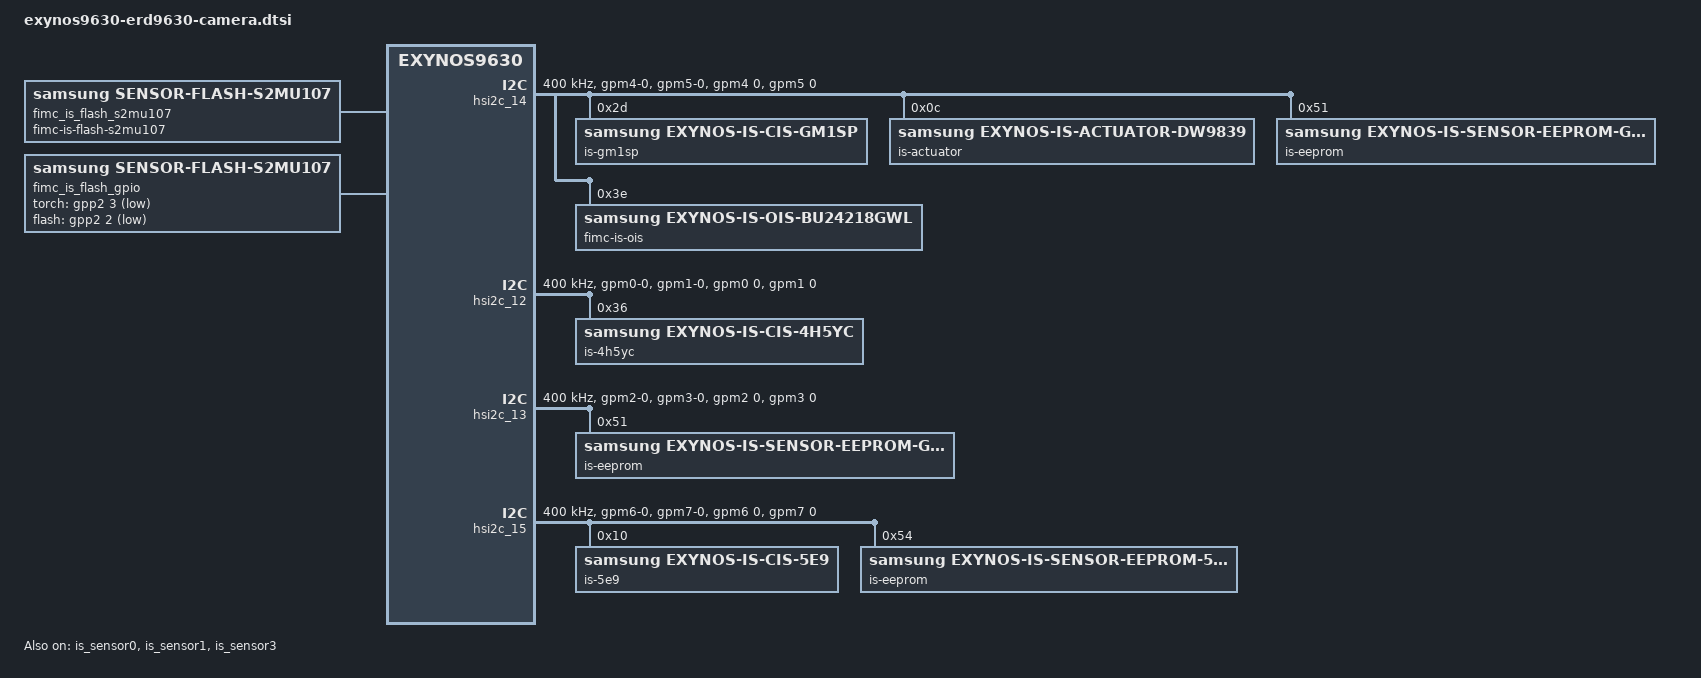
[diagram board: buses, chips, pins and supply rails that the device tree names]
/*
 * Samsung Exynos SoC series Pablo driver
 *
 * Copyright (c) 2019 Samsung Electronics Co., Ltd
 *
 * This program is free software; you can redistribute it and/or modify
 * it under the terms of the GNU General Public License version 2 as
 * published by the Free Software Foundation.
 */

#include <dt-bindings/camera/exynos_is_dt.h>
#include <dt-bindings/interrupt-controller/exynos9630.h>
#include <dt-bindings/clock/exynos9630.h>

#include "camera/module_gm1sp.dtsi"
#include "camera/module_5e9.dtsi"
#include "camera/module_4h5yc.dtsi"

/ {
	fragment@camera {
		target-path = "/";
		__overlay__ {
			fimc_is_flash_s2mu107: fimc-is-flash-s2mu107@17 {
				compatible = "samsung,sensor-flash-s2mu107";
				id = <0>;
				status = "okay";
			};

			/* REAR CAMERA */
			is_sensor_gm1sp: is_sensor_gm1sp@43 {
				pinctrl-names = "pin0", "pin1", "pin2", "release";
				pinctrl-0 = <>;
				pinctrl-1 = <&sensor_mclk1_out>;
				pinctrl-2 = <&sensor_mclk1_fn>;
				pinctrl-3 = <>;

				position = <0>; /* Rear:0. Front:1 */
				id = <0>; /* sensor node id */
				mclk_ch = <1>;
				sensor_i2c_ch = <1>; /* I2C 0 */

				status = "okay";

				af {
					product_name = <23>; /* ACTUATOR_NAME_DW9839 */
					i2c_ch = <1>; /* SENSOR_CONTROL_I2C0 */
				};

				flash {
					product_name = <17>; /* FLASH_S2MU107 */
				};

				ois {
					product_name = <3>; /* OIS_NAME_ROHM_BU24218GWL */
					i2c_ch = <1>; /* SENSOR_CONTROL_I2C1 */
				};

				eeprom {
					product_name = <1>; /* EEPROM_GM1SP */
					i2c_ch = <1>; /* SENSOR_CONTROL_I2C0 */
				};

				power_seq {
					gpio_mclk = <&gpg0 4 0x1>;

					scenario_normal_on {
						/* A start node number should be over the 10 for reserved number 0~9. */
						/* pname = "name"; pin = <act value dealy voltage>; gpio = <gpx# # 0x1>; */
						10 { pname = "MCLK"; pin = <PIN_MCLK 1 0>; };
						20 { pname = "sen_rst low"; pin = <PIN_OUTPUT 0 0>; gpio = <&gpm13 0 0x1>; };
						30 { pname = "S2MPB03_VLDO6"; pin = <PIN_REGULATOR 1 0>; };
						40 { pname = "S2MPB03_VLDO1"; pin = <PIN_REGULATOR 1 0>; };
						50 { pname = "S2MPB03_VLDO3"; pin = <PIN_REGULATOR 1 0>; share = <SRT_ACQUIRE SHARED_PIN0 1>; };
						60 { pname = "S2MPB03_VLDO7"; pin = <PIN_REGULATOR 1 1000>; };
						70 { pname = "none"; pin = <PIN_NONE 0 0>; };
						80 { pname = "on_i2c"; pin = <PIN_I2C 1 0>; };
						90 { pname = "pin"; pin = <PIN_FUNCTION 2 0>; };
						100 { pname = "sen_rst high"; pin = <PIN_OUTPUT 1 2000>; gpio = <&gpm13 0 0x1>; };
					};

					scenario_normal_off {
						/* A start node number should be over the 10 for reserved number 0~9. */
						/* pname = "name"; pin = <act value dealy voltage>; gpio = <gpx# # 0x1>; */
						10 { pname = "sen_rst"; pin = <PIN_RESET 0 10>; gpio = <&gpm13 0 0x1>; };
						20 { pname = "sen_rst input"; pin = <PIN_INPUT 0 0>; gpio = <&gpm13 0 0x1>; };
						30 { pname = "S2MPB03_VLDO7"; pin = <PIN_REGULATOR 0 0>; };
						40 { pname = "S2MPB03_VLDO3"; pin = <PIN_REGULATOR 0 0>; share = <SRT_RELEASE SHARED_PIN0 0>; };
						50 { pname = "S2MPB03_VLDO1"; pin = <PIN_REGULATOR 0 0>; };
						60 { pname = "S2MPB03_VLDO6"; pin = <PIN_REGULATOR 0 0>; };
						70 { pname = "none"; pin = <PIN_NONE 0 0>; };
						80 { pname = "off_i2c"; pin = <PIN_I2C 0 0>; };
						90 { pname = "pin"; pin = <PIN_FUNCTION 0 0>; };
						100 { pname = "pin"; pin = <PIN_FUNCTION 1 0>; };
						110 { pname = "pin"; pin = <PIN_FUNCTION 0 0>; };
						120 { pname = "MCLK"; pin = <PIN_MCLK 0 0>; };
					};

					scenario_g_active_camera_on {
						sensor_scenario = <SENSOR_SCENARIO_G_ACTIVE_CAMERA>;
						gpio_scenario = <GPIO_SCENARIO_ON>;

						/* A start node number should be over the 10 for reserved number 0~9. */
						/* pname = "name"; pin = <act value dealy voltage>; gpio = <gpx# # 0x1>; */
						10 { pname = "MCLK"; pin = <PIN_MCLK 1 0>; };
						20 { pname = "sen_rst low"; pin = <PIN_OUTPUT 0 0>; gpio = <&gpm13 0 0x1>; };
						30 { pname = "S2MPB03_VLDO6"; pin = <PIN_REGULATOR 1 0>; };
						40 { pname = "S2MPB03_VLDO1"; pin = <PIN_REGULATOR 1 0>; };
						50 { pname = "S2MPB03_VLDO3"; pin = <PIN_REGULATOR 1 0>; share = <SRT_ACQUIRE SHARED_PIN0 1>; };
						60 { pname = "S2MPB03_VLDO7"; pin = <PIN_REGULATOR 1 1000>; };
						70 { pname = "none"; pin = <PIN_NONE 0 0>; };
						80 { pname = "on_i2c"; pin = <PIN_I2C 1 0>; };
						90 { pname = "pin"; pin = <PIN_FUNCTION 2 0>; };
						100 { pname = "sen_rst high"; pin = <PIN_OUTPUT 1 2000>; gpio = <&gpm13 0 0x1>; };
					};

					scenario_g_active_camera_off {
						sensor_scenario = <SENSOR_SCENARIO_G_ACTIVE_CAMERA>;
						gpio_scenario = <GPIO_SCENARIO_OFF>;

						/* A start node number should be over the 10 for reserved number 0~9. */
						/* pname = "name"; pin = <act value dealy voltage>; gpio = <gpx# # 0x1>; */
						10 { pname = "sen_rst"; pin = <PIN_RESET 0 10>; gpio = <&gpm13 0 0x1>; };
						20 { pname = "sen_rst input"; pin = <PIN_INPUT 0 0>; gpio = <&gpm13 0 0x1>; };
						30 { pname = "S2MPB03_VLDO7"; pin = <PIN_REGULATOR 0 0>; };
						40 { pname = "S2MPB03_VLDO3"; pin = <PIN_REGULATOR 0 0>; share = <SRT_RELEASE SHARED_PIN0 0>; };
						50 { pname = "S2MPB03_VLDO1"; pin = <PIN_REGULATOR 0 0>; };
						60 { pname = "S2MPB03_VLDO6"; pin = <PIN_REGULATOR 0 0>; };
						70 { pname = "none"; pin = <PIN_NONE 0 0>; };
						80 { pname = "off_i2c"; pin = <PIN_I2C 0 0>; };
						90 { pname = "pin"; pin = <PIN_FUNCTION 0 0>; };
						100 { pname = "pin"; pin = <PIN_FUNCTION 1 0>; };
						110 { pname = "pin"; pin = <PIN_FUNCTION 0 0>; };
						120 { pname = "MCLK"; pin = <PIN_MCLK 0 0>; };
					};

				};
			};

			/* FRONT CAMERA */
			is_sensor_4h5yc: is_sensor_4h5yc@24 {
				pinctrl-names = "pin0", "pin1", "pin2", "release";
				pinctrl-0 = <>;
				pinctrl-1 = <&sensor_mclk0_out>;
				pinctrl-2 = <&sensor_mclk0_fn>;
				pinctrl-3 = <>;

				position = <1>; /* Rear:0. Front:1 */
				id = <1>; /* sensor node id */
				mclk_ch = <0>;
				sensor_i2c_ch = <0>;

				status = "okay";

				power_seq {
					gpio_mclk = <&gpg0 3 0x1>;

					scenario_normal_on {
						/* A start node number should be over the 10 for reserved number 0~9. */
						/* pname = "name"; pin = <act value dealy voltage>; gpio = <gpx# # 0x1>; */
						10 { pname = "sen_rst low"; pin = <PIN_OUTPUT 0 0>; gpio = <&gpm12 0 0x1>; };
						20 { pname = "S2MPU10_VLDO24M"; pin = <PIN_REGULATOR 1 0>; };
						30 { pname = "S2MPB03_VLDO3"; pin = <PIN_REGULATOR 1 0>; share = <SRT_ACQUIRE SHARED_PIN0 1>; };
						40 { pname = "S2MPB03_VLDO2"; pin = <PIN_REGULATOR 1 1000>; };
						50 { pname = "on_i2c"; pin = <PIN_I2C 1 0>; };
						60 { pname = "pin"; pin = <PIN_FUNCTION 2 0>; };
						70 { pname = "MCLK"; pin = <PIN_MCLK 1 0>; };
						80 { pname = "sen_rst high"; pin = <PIN_OUTPUT 1 2500>; gpio = <&gpm12 0 0x1>; };
						/* need eeprom pin control */
					};

					scenario_normal_off {
						/* A start node number should be over the 10 for reserved number 0~9. */
						/* pname = "name"; pin = <act value dealy voltage>; gpio = <gpx# # 0x1>; */
						10 { pname = "S2MPU10_VLDO24M"; pin = <PIN_REGULATOR 0 0>; };
						20 { pname = "S2MPB03_VLDO2"; pin = <PIN_REGULATOR 0 0>; };
						30 { pname = "MCLK"; pin = <PIN_MCLK 0 0>; };
						40 { pname = "pin"; pin = <PIN_FUNCTION 0 0>; };
						50 { pname = "pin"; pin = <PIN_FUNCTION 1 0>; };
						60 { pname = "pin"; pin = <PIN_FUNCTION 0 0>; };
						70 { pname = "sen_rst"; pin = <PIN_OUTPUT 0 0>; gpio = <&gpm12 0 0x1>; };
						80 { pname = "off_i2c"; pin = <PIN_I2C 0 0>; };
						90 { pname = "S2MPB03_VLDO3"; pin = <PIN_REGULATOR 0 0>; share = <SRT_RELEASE SHARED_PIN0 0>; };
						/* need eeprom pin control */
					};

					scenario_g_active_camera_on {
						sensor_scenario = <SENSOR_SCENARIO_G_ACTIVE_CAMERA>;
						gpio_scenario = <GPIO_SCENARIO_ON>;
						/* A start node number should be over the 10 for reserved number 0~9. */
						/* pname = "name"; pin = <act value dealy voltage>; gpio = <gpx# # 0x1>; */
						10 { pname = "sen_rst low"; pin = <PIN_OUTPUT 0 0>; gpio = <&gpm12 0 0x1>; };
						20 { pname = "S2MPU10_VLDO24M"; pin = <PIN_REGULATOR 1 0>; };
						30 { pname = "S2MPB03_VLDO3"; pin = <PIN_REGULATOR 1 0>; share = <SRT_ACQUIRE SHARED_PIN0 1>; };
						40 { pname = "S2MPB03_VLDO2"; pin = <PIN_REGULATOR 1 1000>; };
						50 { pname = "on_i2c"; pin = <PIN_I2C 1 0>; };
						60 { pname = "pin"; pin = <PIN_FUNCTION 2 0>; };
						70 { pname = "MCLK"; pin = <PIN_MCLK 1 0>; };
						80 { pname = "sen_rst high"; pin = <PIN_OUTPUT 1 2500>; gpio = <&gpm12 0 0x1>; };
						/* need eeprom pin control */
					};

					scenario_g_active_camera_off {
						sensor_scenario = <SENSOR_SCENARIO_G_ACTIVE_CAMERA>;
						gpio_scenario = <GPIO_SCENARIO_OFF>;
						/* A start node number should be over the 10 for reserved number 0~9. */
						/* pname = "name"; pin = <act value dealy voltage>; gpio = <gpx# # 0x1>; */
						10 { pname = "S2MPU10_VLDO24M"; pin = <PIN_REGULATOR 0 0>; };
						20 { pname = "S2MPB03_VLDO2"; pin = <PIN_REGULATOR 0 0>; };
						30 { pname = "MCLK"; pin = <PIN_MCLK 0 0>; };
						40 { pname = "pin"; pin = <PIN_FUNCTION 0 0>; };
						50 { pname = "pin"; pin = <PIN_FUNCTION 1 0>; };
						60 { pname = "pin"; pin = <PIN_FUNCTION 0 0>; };
						70 { pname = "sen_rst"; pin = <PIN_OUTPUT 0 0>; gpio = <&gpm12 0 0x1>; };
						80 { pname = "off_i2c"; pin = <PIN_I2C 0 0>; };
						90 { pname = "S2MPB03_VLDO3"; pin = <PIN_REGULATOR 0 0>; share = <SRT_RELEASE SHARED_PIN0 0>; };
						/* need eeprom pin control */
					};

				};

			};

			/* Rear Sub CAMERA */
			is_sensor_5e9: is_sensor_5e9@41 {
				pinctrl-names = "pin0", "pin1", "pin2", "release";
				pinctrl-0 = <>;
				pinctrl-1 = <&sensor_mclk2_out>;
				pinctrl-2 = <&sensor_mclk2_fn>;
				pinctrl-3 = <>;

				/* board */
				position = <2>; /* Rear:0. Front:1, Tele:2 */
				id = <2>; /* fimc_is_sensor id */
				mclk_ch = <2>;
				sensor_i2c_ch = <2>; /* SENSOR_CONTROL_I2C5 */

				af {
					product_name = <100>; /* NOTHING */
				};

				flash {
					product_name = <100>; /* NOTHING */
				};

				preprocessor {
					product_name = <100>; /* NOTHING */
				};

				ois {
					product_name = <100>; /* NOTHING */
				};

				eeprom {
					product_name = <2>; /* EEPROM_5E9 */
					i2c_ch = <2>; /* SENSOR_CONTROL_I2C2 */
				};

				power_seq {
					use = <1>;
					gpio_mclk = <&gpg0 5 0x1>;

					scenario_normal_on {
						sensor_scenario = <SENSOR_SCENARIO_NORMAL>;
						gpio_scenario = <GPIO_SCENARIO_ON>;

						/* A start node number should be over the 10 for reserved number 0~9. */
						/* pname = "name"; pin = <act value dealy voltage>; gpio = <gpx# # 0x1>; */
						10 { pname = "MCLK"; pin = <PIN_MCLK 1 0>; };
						20 { pname = "sen_rst low"; pin = <PIN_OUTPUT 0 0>; gpio = <&gpm14 0 0x1>; };
						30 { pname = "S2MPB03_VLDO5"; pin = <PIN_REGULATOR 1 0>; };
						40 { pname = "S2MPB03_VLDO3"; pin = <PIN_REGULATOR 1 0>; share = <SRT_ACQUIRE SHARED_PIN0 1>; };
						50 { pname = "S2MPB03_VLDO4"; pin = <PIN_REGULATOR 1 1000>; };
						60 { pname = "pin"; pin = <PIN_FUNCTION 2 1000>; };
						70 { pname = "sen_rst high"; pin = <PIN_OUTPUT 1 1000>; gpio = <&gpm14 0 0x1>; };
						80 { pname = "on_i2c"; pin = <PIN_I2C 1 0>; };
					};

					scenario_normal_off {
						sensor_scenario = <SENSOR_SCENARIO_NORMAL>;
						gpio_scenario = <GPIO_SCENARIO_OFF>;

						/* A start node number should be over the 10 for reserved number 0~9. */
						/* pname = "name"; pin = <act value dealy voltage>; gpio = <gpx# # 0x1>; */
						10 { pname = "pin"; pin = <PIN_FUNCTION 0 0>; };
						20 { pname = "pin"; pin = <PIN_FUNCTION 1 0>; };
						30 { pname = "pin"; pin = <PIN_FUNCTION 0 0>; };
						40 { pname = "S2MPB03_VLDO5"; pin = <PIN_REGULATOR 0 0>; };
						50 { pname = "S2MPB03_VLDO4"; pin = <PIN_REGULATOR 0 0>; };
						60 { pname = "S2MPB03_VLDO3"; pin = <PIN_REGULATOR 0 0>; share = <SRT_RELEASE SHARED_PIN0 0>; };
						70 { pname = "sen_rst"; pin = <PIN_OUTPUT 0 0>; gpio = <&gpm14 0 0x1>; };
						80 { pname = "MCLK"; pin = <PIN_MCLK 0 0>; };
						90 { pname = "off_i2c"; pin = <PIN_I2C 0 0>; };
					};

					scenario_g_active_camera_on {
						sensor_scenario = <SENSOR_SCENARIO_G_ACTIVE_CAMERA>;
						gpio_scenario = <GPIO_SCENARIO_ON>;

						/* A start node number should be over the 10 for reserved number 0~9. */
						/* pname = "name"; pin = <act value dealy voltage>; gpio = <gpx# # 0x1>; */
						10 { pname = "MCLK"; pin = <PIN_MCLK 1 0>; };
						20 { pname = "sen_rst low"; pin = <PIN_OUTPUT 0 0>; gpio = <&gpm14 0 0x1>; };
						30 { pname = "S2MPB03_VLDO5"; pin = <PIN_REGULATOR 1 0>; };
						40 { pname = "S2MPB03_VLDO3"; pin = <PIN_REGULATOR 1 0>; share = <SRT_ACQUIRE SHARED_PIN0 1>; };
						50 { pname = "S2MPB03_VLDO4"; pin = <PIN_REGULATOR 1 1000>; };
						60 { pname = "pin"; pin = <PIN_FUNCTION 2 1000>; };
						70 { pname = "sen_rst high"; pin = <PIN_OUTPUT 1 1000>; gpio = <&gpm14 0 0x1>; };
						80 { pname = "on_i2c"; pin = <PIN_I2C 1 0>; };
					};

					scenario_g_active_camera_off {
						sensor_scenario = <SENSOR_SCENARIO_VISION>;
						gpio_scenario = <GPIO_SCENARIO_OFF>;

						/* A start node number should be over the 10 for reserved number 0~9. */
						/* pname = "name"; pin = <act value dealy voltage>; gpio = <gpx# # 0x1>; */
						10 { pname = "pin"; pin = <PIN_FUNCTION 0 0>; };
						20 { pname = "pin"; pin = <PIN_FUNCTION 1 0>; };
						30 { pname = "pin"; pin = <PIN_FUNCTION 0 0>; };
						40 { pname = "S2MPB03_VLDO5"; pin = <PIN_REGULATOR 0 0>; };
						50 { pname = "S2MPB03_VLDO4"; pin = <PIN_REGULATOR 0 0>; };
						60 { pname = "S2MPB03_VLDO3"; pin = <PIN_REGULATOR 0 0>; share = <SRT_RELEASE SHARED_PIN0 0>; };
						70 { pname = "sen_rst"; pin = <PIN_OUTPUT 0 0>; gpio = <&gpm14 0 0x1>; };
						80 { pname = "MCLK"; pin = <PIN_MCLK 0 0>; };
						90 { pname = "off_i2c"; pin = <PIN_I2C 0 0>; };
					};
				};

			};

			fimc_is_flash_gpio: fimc-is-flash-gpio@0 {
				compatible = "samsung,sensor-flash-s2mu107";
				id = <0>;
				status = "okay";

				torch-gpio = <&gpp2 3 0x1>;
				flash-gpio = <&gpp2 2 0x1>;
			};
		}; /* end of __overlay__ */
	}; /* end of fragment */
}; /* end of root */

/***** reference symbol node *****/

&exynos_is {
	vender {
		rear_sensor_id = <43>; /* GM1SP */
		front_sensor_id = <24>; /* 4H5YC */
		rear2_sensor_id = <41>; /* 5E9 */
	};

	lic_offsets {
		/* 3AA = <setA lic offset0, setA lic offset1, set A trigger context */
		/*		setB lic offset0, setB lic offset1, set B trigger context> */
		/* 4672: 4640x4352 */
		/* 5824: 5804x4352 */
		3AA = <4672 10496 1 4064 13344 2>;
	};

	is_dvfs {
		#define DVFS_INT_CAM_L0 533000
		#define DVFS_INT_CAM_L1 532000
		#define DVFS_INT_CAM_L2 444000
		#define DVFS_INT_CAM_L3 400000
		#define DVFS_INT_CAM_L4 333000
		#define DVFS_INT_CAM_L5 222000
		#define DVFS_INT_CAM_L6 167000
		#define DVFS_INT_CAM_L7 107000

		#define DVFS_TNR_L0 533000
		#define DVFS_TNR_L1 444000
		#define DVFS_TNR_L2 400000
		#define DVFS_TNR_L3 333000
		#define DVFS_TNR_L4 222000
		#define DVFS_TNR_L5 167000
		#define DVFS_TNR_L6 107000

		#define DVFS_INT_L0 666000
		#define DVFS_INT_L1 533000
		#define DVFS_INT_L2 400000
		#define DVFS_INT_L3 266000
		#define DVFS_INT_L4 200000
		#define DVFS_INT_L5 133000

		#define DVFS_CAM_L0 533000
		#define DVFS_CAM_L1 444000
		#define DVFS_CAM_L2 400000
		#define DVFS_CAM_L3 333000
		#define DVFS_CAM_L4 267000
		#define DVFS_CAM_L5 222000
		#define DVFS_CAM_L6 100000

		#define DVFS_MIF_L0 2093000
		#define DVFS_MIF_L1 1794000
		#define DVFS_MIF_L2 1539000
		#define DVFS_MIF_L3 1352000
		#define DVFS_MIF_L4 1014000
		#define DVFS_MIF_L5 845000
		#define DVFS_MIF_L6 676000
		#define DVFS_MIF_L7 546000
		#define DVFS_MIF_L8 421000

		table0 {
			desc = "dvfs table v0.0 for 12M/8M/5M";

			default_int_cam = <DVFS_INT_CAM_L2>;
			default_tnr = <DVFS_TNR_L1>;
			default_cam = <DVFS_CAM_L0>;
			default_mif = <DVFS_MIF_L2>;
			default_int = <DVFS_INT_L4>;
			default_hpg = <0>;

			front2_preview_int_cam = <DVFS_INT_CAM_L2>;
			front2_preview_tnr = <DVFS_TNR_L1>;
			front2_preview_cam = <DVFS_CAM_L0>;
			front2_preview_mif = <DVFS_MIF_L2>;
			front2_preview_int = <DVFS_INT_L4>;
			front2_preview_hpg = <0>;

			front2_capture_int_cam = <DVFS_INT_CAM_L2>;
			front2_capture_tnr = <DVFS_TNR_L1>;
			front2_capture_cam = <DVFS_CAM_L0>;
			front2_capture_mif = <DVFS_MIF_L2>;
			front2_capture_int = <DVFS_INT_L4>;
			front2_capture_hpg = <0>;

			front2_video_int_cam = <DVFS_INT_CAM_L2>;
			front2_video_tnr = <DVFS_TNR_L1>;
			front2_video_cam = <DVFS_CAM_L0>;
			front2_video_mif = <DVFS_MIF_L2>;
			front2_video_int = <DVFS_INT_L4>;
			front2_video_hpg = <0>;

			front2_video_capture_int_cam = <DVFS_INT_CAM_L2>;
			front2_video_capture_tnr = <DVFS_TNR_L1>;
			front2_video_capture_cam = <DVFS_CAM_L0>;
			front2_video_capture_mif = <DVFS_MIF_L2>;
			front2_video_capture_int = <DVFS_INT_L4>;
			front2_video_capture_hpg = <0>;

			front_preview_int_cam = <DVFS_INT_CAM_L5>;
			front_preview_tnr = <DVFS_TNR_L4>;
			front_preview_cam = <DVFS_CAM_L4>;
			front_preview_mif = <DVFS_MIF_L4>;
			front_preview_int = <DVFS_INT_L4>;
			front_preview_hpg = <0>;

			front_preview_full_int_cam = <DVFS_INT_CAM_L5>;
			front_preview_full_tnr = <DVFS_TNR_L4>;
			front_preview_full_cam = <DVFS_CAM_L4>;
			front_preview_full_mif = <DVFS_MIF_L4>;
			front_preview_full_int = <DVFS_INT_L4>;
			front_preview_full_hpg = <0>;

			front_capture_int_cam = <DVFS_INT_CAM_L2>;
			front_capture_tnr = <DVFS_TNR_L1>;
			front_capture_cam = <DVFS_CAM_L4>;
			front_capture_mif = <DVFS_MIF_L1>;
			front_capture_int = <DVFS_INT_L4>;
			front_capture_hpg = <0>;

			front_video_int_cam = <DVFS_INT_CAM_L5>;
			front_video_tnr = <DVFS_TNR_L4>;
			front_video_cam = <DVFS_CAM_L4>;
			front_video_mif = <DVFS_MIF_L4>;
			front_video_int = <DVFS_INT_L4>;
			front_video_hpg = <0>;

			front_video_whd_int_cam = <DVFS_INT_CAM_L5>;
			front_video_whd_tnr = <DVFS_TNR_L4>;
			front_video_whd_cam = <DVFS_CAM_L4>;
			front_video_whd_mif = <DVFS_MIF_L4>;
			front_video_whd_int = <DVFS_INT_L4>;
			front_video_whd_hpg = <0>;

			front_video_uhd_int_cam = <DVFS_INT_CAM_L5>;
			front_video_uhd_tnr = <DVFS_TNR_L4>;
			front_video_uhd_cam = <DVFS_CAM_L4>;
			front_video_uhd_mif = <DVFS_MIF_L4>;
			front_video_uhd_int = <DVFS_INT_L4>;
			front_video_uhd_hpg = <0>;

			front_video_capture_int_cam = <DVFS_INT_CAM_L2>;
			front_video_capture_tnr = <DVFS_TNR_L1>;
			front_video_capture_cam = <DVFS_CAM_L4>;
			front_video_capture_mif = <DVFS_MIF_L1>;
			front_video_capture_int = <DVFS_INT_L4>;
			front_video_capture_hpg = <0>;

			front_video_whd_capture_int_cam = <DVFS_INT_CAM_L2>;
			front_video_whd_capture_tnr = <DVFS_TNR_L1>;
			front_video_whd_capture_cam = <DVFS_CAM_L4>;
			front_video_whd_capture_mif = <DVFS_MIF_L1>;
			front_video_whd_capture_int = <DVFS_INT_L4>;
			front_video_whd_capture_hpg = <0>;

			front_video_uhd_capture_int_cam = <DVFS_INT_CAM_L2>;
			front_video_uhd_capture_tnr = <DVFS_TNR_L1>;
			front_video_uhd_capture_cam = <DVFS_CAM_L4>;
			front_video_uhd_capture_mif = <DVFS_MIF_L1>;
			front_video_uhd_capture_int = <DVFS_INT_L4>;
			front_video_uhd_capture_hpg = <0>;

			front_dual_sync_preview_int_cam = <DVFS_INT_CAM_L2>;
			front_dual_sync_preview_tnr = <DVFS_TNR_L1>;
			front_dual_sync_preview_cam = <DVFS_CAM_L0>;
			front_dual_sync_preview_mif = <DVFS_MIF_L2>;
			front_dual_sync_preview_int = <DVFS_INT_L4>;
			front_dual_sync_preview_hpg = <0>;

			front_dual_sync_capture_int_cam = <DVFS_INT_CAM_L2>;
			front_dual_sync_capture_tnr = <DVFS_TNR_L1>;
			front_dual_sync_capture_cam = <DVFS_CAM_L0>;
			front_dual_sync_capture_mif = <DVFS_MIF_L2>;
			front_dual_sync_capture_int = <DVFS_INT_L4>;
			front_dual_sync_capture_hpg = <0>;

			front_dual_sync_video_fhd_int_cam = <DVFS_INT_CAM_L2>;
			front_dual_sync_video_fhd_tnr = <DVFS_TNR_L1>;
			front_dual_sync_video_fhd_cam = <DVFS_CAM_L0>;
			front_dual_sync_video_fhd_mif = <DVFS_MIF_L2>;
			front_dual_sync_video_fhd_int = <DVFS_INT_L4>;
			front_dual_sync_video_fhd_hpg = <0>;

			front_dual_sync_video_fhd_capture_int_cam = <DVFS_INT_CAM_L2>;
			front_dual_sync_video_fhd_capture_tnr = <DVFS_TNR_L1>;
			front_dual_sync_video_fhd_capture_cam = <DVFS_CAM_L0>;
			front_dual_sync_video_fhd_capture_mif = <DVFS_MIF_L2>;
			front_dual_sync_video_fhd_capture_int = <DVFS_INT_L4>;
			front_dual_sync_video_fhd_capture_hpg = <0>;

			front_vt1_int_cam = <DVFS_INT_CAM_L2>;
			front_vt1_tnr = <DVFS_TNR_L1>;
			front_vt1_cam = <DVFS_CAM_L0>;
			front_vt1_mif = <DVFS_MIF_L2>;
			front_vt1_int = <DVFS_INT_L4>;
			front_vt1_hpg = <0>;

			front_vt2_int_cam = <DVFS_INT_CAM_L2>;
			front_vt2_tnr = <DVFS_TNR_L1>;
			front_vt2_cam = <DVFS_CAM_L0>;
			front_vt2_mif = <DVFS_MIF_L2>;
			front_vt2_int = <DVFS_INT_L4>;
			front_vt2_hpg = <0>;

			front_vt4_int_cam = <DVFS_INT_CAM_L2>;
			front_vt4_tnr = <DVFS_TNR_L1>;
			front_vt4_cam = <DVFS_CAM_L0>;
			front_vt4_mif = <DVFS_MIF_L2>;
			front_vt4_int = <DVFS_INT_L4>;
			front_vt4_hpg = <0>;

			front_preview_high_speed_fps_int_cam = <DVFS_INT_CAM_L2>;
			front_preview_high_speed_fps_tnr = <DVFS_TNR_L1>;
			front_preview_high_speed_fps_cam = <DVFS_CAM_L0>;
			front_preview_high_speed_fps_mif = <DVFS_MIF_L2>;
			front_preview_high_speed_fps_int = <DVFS_INT_L4>;
			front_preview_high_speed_fps_hpg = <0>;

			front_video_high_speed_120fps_int_cam = <DVFS_INT_CAM_L2>;
			front_video_high_speed_120fps_tnr = <DVFS_TNR_L1>;
			front_video_high_speed_120fps_cam = <DVFS_CAM_L0>;
			front_video_high_speed_120fps_mif = <DVFS_MIF_L2>;
			front_video_high_speed_120fps_int = <DVFS_INT_L4>;
			front_video_high_speed_120fps_hpg = <0>;

			rear3_preview_fhd_int_cam = <DVFS_INT_CAM_L2>;
			rear3_preview_fhd_tnr = <DVFS_TNR_L1>;
			rear3_preview_fhd_cam = <DVFS_CAM_L0>;
			rear3_preview_fhd_mif = <DVFS_MIF_L2>;
			rear3_preview_fhd_int = <DVFS_INT_L4>;
			rear3_preview_fhd_hpg = <0>;

			rear3_capture_int_cam = <DVFS_INT_CAM_L2>;
			rear3_capture_tnr = <DVFS_TNR_L1>;
			rear3_capture_cam = <DVFS_CAM_L0>;
			rear3_capture_mif = <DVFS_MIF_L2>;
			rear3_capture_int = <DVFS_INT_L4>;
			rear3_capture_hpg = <0>;

			rear3_video_fhd_int_cam = <DVFS_INT_CAM_L2>;
			rear3_video_fhd_tnr = <DVFS_TNR_L1>;
			rear3_video_fhd_cam = <DVFS_CAM_L0>;
			rear3_video_fhd_mif = <DVFS_MIF_L2>;
			rear3_video_fhd_int = <DVFS_INT_L4>;
			rear3_video_fhd_hpg = <0>;

			rear3_video_fhd_capture_int_cam = <DVFS_INT_CAM_L2>;
			rear3_video_fhd_capture_tnr = <DVFS_TNR_L1>;
			rear3_video_fhd_capture_cam = <DVFS_CAM_L0>;
			rear3_video_fhd_capture_mif = <DVFS_MIF_L2>;
			rear3_video_fhd_capture_int = <DVFS_INT_L4>;
			rear3_video_fhd_capture_hpg = <0>;

			rear2_preview_fhd_int_cam = <DVFS_INT_CAM_L2>;
			rear2_preview_fhd_tnr = <DVFS_TNR_L1>;
			rear2_preview_fhd_cam = <DVFS_CAM_L0>;
			rear2_preview_fhd_mif = <DVFS_MIF_L2>;
			rear2_preview_fhd_int = <DVFS_INT_L4>;
			rear2_preview_fhd_hpg = <0>;

			rear2_capture_int_cam = <DVFS_INT_CAM_L2>;
			rear2_capture_tnr = <DVFS_TNR_L1>;
			rear2_capture_cam = <DVFS_CAM_L0>;
			rear2_capture_mif = <DVFS_MIF_L2>;
			rear2_capture_int = <DVFS_INT_L4>;
			rear2_capture_hpg = <0>;

			rear2_video_fhd_int_cam = <DVFS_INT_CAM_L2>;
			rear2_video_fhd_tnr = <DVFS_TNR_L1>;
			rear2_video_fhd_cam = <DVFS_CAM_L0>;
			rear2_video_fhd_mif = <DVFS_MIF_L2>;
			rear2_video_fhd_int = <DVFS_INT_L4>;
			rear2_video_fhd_hpg = <0>;

			rear2_video_fhd_capture_int_cam = <DVFS_INT_CAM_L2>;
			rear2_video_fhd_capture_tnr = <DVFS_TNR_L1>;
			rear2_video_fhd_capture_cam = <DVFS_CAM_L0>;
			rear2_video_fhd_capture_mif = <DVFS_MIF_L2>;
			rear2_video_fhd_capture_int = <DVFS_INT_L4>;
			rear2_video_fhd_capture_hpg = <0>;

			rear_preview_fhd_int_cam = <DVFS_INT_CAM_L5>;
			rear_preview_fhd_tnr = <DVFS_TNR_L4>;
			rear_preview_fhd_cam = <DVFS_CAM_L4>;
			rear_preview_fhd_mif = <DVFS_MIF_L4>;
			rear_preview_fhd_int = <DVFS_INT_L4>;
			rear_preview_fhd_hpg = <0>;

			rear_preview_whd_int_cam = <DVFS_INT_CAM_L5>;
			rear_preview_whd_tnr = <DVFS_TNR_L4>;
			rear_preview_whd_cam = <DVFS_CAM_L4>;
			rear_preview_whd_mif = <DVFS_MIF_L4>;
			rear_preview_whd_int = <DVFS_INT_L4>;
			rear_preview_whd_hpg = <0>;

			rear_preview_uhd_int_cam = <DVFS_INT_CAM_L5>;
			rear_preview_uhd_tnr = <DVFS_TNR_L4>;
			rear_preview_uhd_cam = <DVFS_CAM_L4>;
			rear_preview_uhd_mif = <DVFS_MIF_L4>;
			rear_preview_uhd_int = <DVFS_INT_L4>;
			rear_preview_uhd_hpg = <0>;

			rear_preview_uhd_60fps_int_cam = <DVFS_INT_CAM_L5>;
			rear_preview_uhd_60fps_tnr = <DVFS_TNR_L4>;
			rear_preview_uhd_60fps_cam = <DVFS_CAM_L4>;
			rear_preview_uhd_60fps_mif = <DVFS_MIF_L2>;
			rear_preview_uhd_60fps_int = <DVFS_INT_L4>;
			rear_preview_uhd_60fps_hpg = <0>;

			rear_preview_full_int_cam = <DVFS_INT_CAM_L5>;
			rear_preview_full_tnr = <DVFS_TNR_L4>;
			rear_preview_full_cam = <DVFS_CAM_L4>;
			rear_preview_full_mif = <DVFS_MIF_L4>;
			rear_preview_full_int = <DVFS_INT_L4>;
			rear_preview_full_hpg = <0>;

			rear_capture_int_cam = <DVFS_INT_CAM_L3>;
			rear_capture_tnr = <DVFS_TNR_L2>;
			rear_capture_cam = <DVFS_CAM_L4>;
			rear_capture_mif = <DVFS_MIF_L1>;
			rear_capture_int = <DVFS_INT_L4>;
			rear_capture_hpg = <0>;

			rear_video_fhd_int_cam = <DVFS_INT_CAM_L5>;
			rear_video_fhd_tnr = <DVFS_TNR_L4>;
			rear_video_fhd_cam = <DVFS_CAM_L4>;
			rear_video_fhd_mif = <DVFS_MIF_L4>;
			rear_video_fhd_int = <DVFS_INT_L4>;
			rear_video_fhd_hpg = <0>;

			rear_video_whd_int_cam = <DVFS_INT_CAM_L5>;
			rear_video_whd_tnr = <DVFS_TNR_L4>;
			rear_video_whd_cam = <DVFS_CAM_L4>;
			rear_video_whd_mif = <DVFS_MIF_L4>;
			rear_video_whd_int = <DVFS_INT_L4>;
			rear_video_whd_hpg = <0>;

			rear_video_uhd_int_cam = <DVFS_INT_CAM_L5>;
			rear_video_uhd_tnr = <DVFS_TNR_L4>;
			rear_video_uhd_cam = <DVFS_CAM_L4>;
			rear_video_uhd_mif = <DVFS_MIF_L4>;
			rear_video_uhd_int = <DVFS_INT_L4>;
			rear_video_uhd_hpg = <0>;

			rear_video_uhd_60fps_int_cam = <DVFS_INT_CAM_L5>;
			rear_video_uhd_60fps_tnr = <DVFS_TNR_L4>;
			rear_video_uhd_60fps_cam = <DVFS_CAM_L4>;
			rear_video_uhd_60fps_mif = <DVFS_MIF_L2>;
			rear_video_uhd_60fps_int = <DVFS_INT_L4>;
			rear_video_uhd_60fps_hpg = <0>;

			rear_video_fhd_capture_int_cam = <DVFS_INT_CAM_L2>;
			rear_video_fhd_capture_tnr = <DVFS_TNR_L1>;
			rear_video_fhd_capture_cam = <DVFS_CAM_L4>;
			rear_video_fhd_capture_mif = <DVFS_MIF_L2>;
			rear_video_fhd_capture_int = <DVFS_INT_L4>;
			rear_video_fhd_capture_hpg = <0>;

			rear_video_whd_capture_int_cam = <DVFS_INT_CAM_L2>;
			rear_video_whd_capture_tnr = <DVFS_TNR_L1>;
			rear_video_whd_capture_cam = <DVFS_CAM_L4>;
			rear_video_whd_capture_mif = <DVFS_MIF_L2>;
			rear_video_whd_capture_int = <DVFS_INT_L4>;
			rear_video_whd_capture_hpg = <0>;

			rear_video_uhd_capture_int_cam = <DVFS_INT_CAM_L2>;
			rear_video_uhd_capture_tnr = <DVFS_TNR_L1>;
			rear_video_uhd_capture_cam = <DVFS_CAM_L4>;
			rear_video_uhd_capture_mif = <DVFS_MIF_L2>;
			rear_video_uhd_capture_int = <DVFS_INT_L4>;
			rear_video_uhd_capture_hpg = <0>;

			dual_preview_int_cam = <DVFS_INT_CAM_L2>;
			dual_preview_tnr = <DVFS_TNR_L1>;
			dual_preview_cam = <DVFS_CAM_L0>;
			dual_preview_mif = <DVFS_MIF_L2>;
			dual_preview_int = <DVFS_INT_L4>;
			dual_preview_hpg = <0>;

			dual_capture_int_cam = <DVFS_INT_CAM_L2>;
			dual_capture_tnr = <DVFS_TNR_L1>;
			dual_capture_cam = <DVFS_CAM_L0>;
			dual_capture_mif = <DVFS_MIF_L2>;
			dual_capture_int = <DVFS_INT_L4>;
			dual_capture_hpg = <0>;

			dual_video_fhd_int_cam = <DVFS_INT_CAM_L2>;
			dual_video_fhd_tnr = <DVFS_TNR_L1>;
			dual_video_fhd_cam = <DVFS_CAM_L0>;
			dual_video_fhd_mif = <DVFS_MIF_L2>;
			dual_video_fhd_int = <DVFS_INT_L4>;
			dual_video_fhd_hpg = <0>;

			dual_video_fhd_capture_int_cam = <DVFS_INT_CAM_L2>;
			dual_video_fhd_capture_tnr = <DVFS_TNR_L1>;
			dual_video_fhd_capture_cam = <DVFS_CAM_L0>;
			dual_video_fhd_capture_mif = <DVFS_MIF_L2>;
			dual_video_fhd_capture_int = <DVFS_INT_L4>;
			dual_video_fhd_capture_hpg = <0>;

			dual_video_uhd_int_cam = <DVFS_INT_CAM_L2>;
			dual_video_uhd_tnr = <DVFS_TNR_L1>;
			dual_video_uhd_cam = <DVFS_CAM_L0>;
			dual_video_uhd_mif = <DVFS_MIF_L2>;
			dual_video_uhd_int = <DVFS_INT_L4>;
			dual_video_uhd_hpg = <0>;

			dual_video_uhd_capture_int_cam = <DVFS_INT_CAM_L2>;
			dual_video_uhd_capture_tnr = <DVFS_TNR_L1>;
			dual_video_uhd_capture_cam = <DVFS_CAM_L0>;
			dual_video_uhd_capture_mif = <DVFS_MIF_L2>;
			dual_video_uhd_capture_int = <DVFS_INT_L4>;
			dual_video_uhd_capture_hpg = <0>;

			dual_sync_preview_int_cam = <DVFS_INT_CAM_L2>;
			dual_sync_preview_tnr = <DVFS_TNR_L1>;
			dual_sync_preview_cam = <DVFS_CAM_L0>;
			dual_sync_preview_mif = <DVFS_MIF_L2>;
			dual_sync_preview_int = <DVFS_INT_L4>;
			dual_sync_preview_hpg = <0>;

			dual_sync_capture_int_cam = <DVFS_INT_CAM_L2>;
			dual_sync_capture_tnr = <DVFS_TNR_L1>;
			dual_sync_capture_cam = <DVFS_CAM_L0>;
			dual_sync_capture_mif = <DVFS_MIF_L2>;
			dual_sync_capture_int = <DVFS_INT_L4>;
			dual_sync_capture_hpg = <0>;

			dual_sync_preview_whd_int_cam = <DVFS_INT_CAM_L2>;
			dual_sync_preview_whd_tnr = <DVFS_TNR_L1>;
			dual_sync_preview_whd_cam = <DVFS_CAM_L0>;
			dual_sync_preview_whd_mif = <DVFS_MIF_L2>;
			dual_sync_preview_whd_int = <DVFS_INT_L4>;
			dual_sync_preview_whd_hpg = <0>;

			dual_sync_whd_capture_int_cam = <DVFS_INT_CAM_L2>;
			dual_sync_whd_capture_tnr = <DVFS_TNR_L1>;
			dual_sync_whd_capture_cam = <DVFS_CAM_L0>;
			dual_sync_whd_capture_mif = <DVFS_MIF_L2>;
			dual_sync_whd_capture_int = <DVFS_INT_L4>;
			dual_sync_whd_capture_hpg = <0>;

			dual_sync_video_fhd_int_cam = <DVFS_INT_CAM_L2>;
			dual_sync_video_fhd_tnr = <DVFS_TNR_L1>;
			dual_sync_video_fhd_cam = <DVFS_CAM_L0>;
			dual_sync_video_fhd_mif = <DVFS_MIF_L2>;
			dual_sync_video_fhd_int = <DVFS_INT_L4>;
			dual_sync_video_fhd_hpg = <0>;

			dual_sync_video_fhd_capture_int_cam = <DVFS_INT_CAM_L2>;
			dual_sync_video_fhd_capture_tnr = <DVFS_TNR_L1>;
			dual_sync_video_fhd_capture_cam = <DVFS_CAM_L0>;
			dual_sync_video_fhd_capture_mif = <DVFS_MIF_L2>;
			dual_sync_video_fhd_capture_int = <DVFS_INT_L4>;
			dual_sync_video_fhd_capture_hpg = <0>;

			dual_sync_video_uhd_int_cam = <DVFS_INT_CAM_L2>;
			dual_sync_video_uhd_tnr = <DVFS_TNR_L1>;
			dual_sync_video_uhd_cam = <DVFS_CAM_L0>;
			dual_sync_video_uhd_mif = <DVFS_MIF_L2>;
			dual_sync_video_uhd_int = <DVFS_INT_L4>;
			dual_sync_video_uhd_hpg = <0>;

			dual_sync_video_uhd_capture_int_cam = <DVFS_INT_CAM_L2>;
			dual_sync_video_uhd_capture_tnr = <DVFS_TNR_L1>;
			dual_sync_video_uhd_capture_cam = <DVFS_CAM_L0>;
			dual_sync_video_uhd_capture_mif = <DVFS_MIF_L2>;
			dual_sync_video_uhd_capture_int = <DVFS_INT_L4>;
			dual_sync_video_uhd_capture_hpg = <0>;

			secure_front_int_cam = <DVFS_INT_CAM_L2>;
			secure_front_tnr = <DVFS_TNR_L1>;
			secure_front_cam = <DVFS_CAM_L0>;
			secure_front_mif = <DVFS_MIF_L2>;
			secure_front_int = <DVFS_INT_L4>;
			secure_front_hpg = <0>;

			pip_preview_int_cam = <DVFS_INT_CAM_L2>;
			pip_preview_tnr = <DVFS_TNR_L1>;
			pip_preview_cam = <DVFS_CAM_L0>;
			pip_preview_mif = <DVFS_MIF_L2>;
			pip_preview_int = <DVFS_INT_L4>;
			pip_preview_hpg = <0>;

			pip_capture_int_cam = <DVFS_INT_CAM_L2>;
			pip_capture_tnr = <DVFS_TNR_L1>;
			pip_capture_cam = <DVFS_CAM_L0>;
			pip_capture_mif = <DVFS_MIF_L2>;
			pip_capture_int = <DVFS_INT_L4>;
			pip_capture_hpg = <0>;

			pip_video_int_cam = <DVFS_INT_CAM_L2>;
			pip_video_tnr = <DVFS_TNR_L1>;
			pip_video_cam = <DVFS_CAM_L0>;
			pip_video_mif = <DVFS_MIF_L2>;
			pip_video_int = <DVFS_INT_L4>;
			pip_video_hpg = <0>;

			pip_video_capture_int_cam = <DVFS_INT_CAM_L2>;
			pip_video_capture_tnr = <DVFS_TNR_L1>;
			pip_video_capture_cam = <DVFS_CAM_L0>;
			pip_video_capture_mif = <DVFS_MIF_L2>;
			pip_video_capture_int = <DVFS_INT_L4>;
			pip_video_capture_hpg = <0>;

			preview_high_speed_fps_int_cam = <DVFS_INT_CAM_L2>;
			preview_high_speed_fps_tnr = <DVFS_TNR_L1>;
			preview_high_speed_fps_cam = <DVFS_CAM_L0>;
			preview_high_speed_fps_mif = <DVFS_MIF_L2>;
			preview_high_speed_fps_int = <DVFS_INT_L4>;
			preview_high_speed_fps_hpg = <0>;

			video_high_speed_60fps_int_cam = <DVFS_INT_CAM_L2>;
			video_high_speed_60fps_tnr = <DVFS_TNR_L1>;
			video_high_speed_60fps_cam = <DVFS_CAM_L0>;
			video_high_speed_60fps_mif = <DVFS_MIF_L2>;
			video_high_speed_60fps_int = <DVFS_INT_L4>;
			video_high_speed_60fps_hpg = <0>;

			video_high_speed_120fps_int_cam = <DVFS_INT_CAM_L2>;
			video_high_speed_120fps_tnr = <DVFS_TNR_L1>;
			video_high_speed_120fps_cam = <DVFS_CAM_L0>;
			video_high_speed_120fps_mif = <DVFS_MIF_L2>;
			video_high_speed_120fps_int = <DVFS_INT_L4>;
			video_high_speed_120fps_hpg = <0>;

			video_high_speed_240fps_int_cam = <DVFS_INT_CAM_L2>;
			video_high_speed_240fps_tnr = <DVFS_TNR_L1>;
			video_high_speed_240fps_cam = <DVFS_CAM_L0>;
			video_high_speed_240fps_mif = <DVFS_MIF_L2>;
			video_high_speed_240fps_int = <DVFS_INT_L4>;
			video_high_speed_240fps_hpg = <0>;

			video_high_speed_dualfps_int_cam = <DVFS_INT_CAM_L2>;
			video_high_speed_dualfps_tnr = <DVFS_TNR_L1>;
			video_high_speed_dualfps_cam = <DVFS_CAM_L0>;
			video_high_speed_dualfps_mif = <DVFS_MIF_L2>;
			video_high_speed_dualfps_int = <DVFS_INT_L4>;
			video_high_speed_dualfps_hpg = <0>;

			video_high_speed_60fps_capture_int_cam = <DVFS_INT_CAM_L2>;
			video_high_speed_60fps_capture_tnr = <DVFS_TNR_L1>;
			video_high_speed_60fps_capture_cam = <DVFS_CAM_L0>;
			video_high_speed_60fps_capture_mif = <DVFS_MIF_L2>;
			video_high_speed_60fps_capture_int = <DVFS_INT_L4>;
			video_high_speed_60fps_capture_hpg = <0>;

			ext_front_int_cam = <DVFS_INT_CAM_L2>;
			ext_front_tnr = <DVFS_TNR_L1>;
			ext_front_cam = <DVFS_CAM_L0>;
			ext_front_mif = <DVFS_MIF_L2>;
			ext_front_int = <DVFS_INT_L4>;
			ext_front_hpg = <0>;

			ext_secure_int_cam = <DVFS_INT_CAM_L2>;
			ext_secure_tnr = <DVFS_TNR_L1>;
			ext_secure_cam = <DVFS_CAM_L0>;
			ext_secure_mif = <DVFS_MIF_L2>;
			ext_secure_int = <DVFS_INT_L4>;
			ext_secure_hpg = <0>;

			max_int_cam = <DVFS_INT_CAM_L2>;
			max_tnr = <DVFS_TNR_L1>;
			max_cam = <DVFS_CAM_L0>;
			max_mif = <DVFS_MIF_L2>;
			max_int = <DVFS_INT_L0>;
			max_hpg = <0>;
		};
	};
};

&pinctrl_1 {
	/* REAR */
	/* No pull-up resistor, use internal one */
	hsi2c_14_bus: hsi2c_14-bus {
		samsung,pins = "gpm4-0", "gpm5-0";
		samsung,pin-function = <2>;
		samsung,pin-pud = <3>;
		samsung,pin-drv = <0>;
	};

	hsi2c_14_bus_in: hsi2c_14-bus-in {
		samsung,pins = "gpm4-0", "gpm5-0";
		samsung,pin-function = <3>;
		samsung,pin-pud = <3>;
		samsung,pin-drv = <0>;
	};

	/* FORONT */
	/* No pull-up resistor, use internal one */
	hsi2c_12_bus: hsi2c_12-bus {
		samsung,pins = "gpm0-0", "gpm1-0";
		samsung,pin-function = <2>;
		samsung,pin-pud = <3>;
		samsung,pin-drv = <0>;
	};

	hsi2c_12_bus_in: hsi2c_12-bus-in {
		samsung,pins = "gpm0-0", "gpm1-0";
		samsung,pin-function = <3>;
		samsung,pin-pud = <3>;
		samsung,pin-drv = <0>;
	};

	hsi2c_13_bus: hsi2c_13-bus {
		samsung,pins = "gpm2-0", "gpm3-0";
		samsung,pin-function = <3>;
		samsung,pin-pud = <3>;
		samsung,pin-drv = <0>;
	};

	hsi2c_13_bus_in: hsi2c_13-bus-in {
		samsung,pins = "gpm2-0", "gpm3-0";
		samsung,pin-function = <3>;
		samsung,pin-pud = <3>;
		samsung,pin-drv = <0>;
	};

	/* REAR2 */
	/* No pull-up resistor, use internal one */
	hsi2c_15_bus: hsi2c_15-bus {
		samsung,pins = "gpm6-0", "gpm7-0";
		samsung,pin-function = <3>;
		samsung,pin-pud = <3>;
		samsung,pin-drv = <0>;
	};

	hsi2c_15_bus_in: hsi2c_15-bus-in {
		samsung,pins = "gpm6-0", "gpm7-0";
		samsung,pin-function = <3>;
		samsung,pin-pud = <3>;
		samsung,pin-drv = <0>;
	};
};

&hsi2c_14 {
	#address-cells = <1>;
	#size-cells = <0>;
	gpios = <&gpm4 0 0 &gpm5 0 0>;
	status = "okay";
	clock-frequency = <400000>;
	samsung,reset-before-trans;
	samsung,fast-plus-mode;

	pinctrl-names = "default","on_i2c","off_i2c";
	pinctrl-0 = <&hsi2c_14_bus_in>;
	pinctrl-1 = <&hsi2c_14_bus>;
	pinctrl-2 = <&hsi2c_14_bus_in>;

	is-gm1sp@2D {
		compatible = "samsung,exynos-is-cis-gm1sp";
		reg = <0x2D>;
		id = <0>; /* matching sensor id */
		setfile = "setB";
		use_initial_ae;
	};

	is-actuator@72 {
		compatible = "samsung,exynos-is-actuator-dw9839";
		reg = <0x0C>;
		id = <0>; /* matching is_sensor id */
		place = <0>;
	};

	is-eeprom@51 {
		compatible = "samsung,exynos-is-sensor-eeprom-gm1";
		reg = <0x51>;
		id = <0>; /* matching is_sensor id */
	};

	fimc-is-ois@3e {
		compatible = "samsung,exynos-is-ois-bu24218gwl";
		reg = <0x3e>;
		id = <0>;
		place = <0>;
	};
};

&hsi2c_12 {
	#address-cells = <1>;
	#size-cells = <0>;
	gpios = <&gpm0 0 0 &gpm1 0 0>;
	status = "okay";
	clock-frequency = <400000>;

	pinctrl-names = "default","on_i2c","off_i2c";
	pinctrl-0 = <&hsi2c_12_bus_in>;
	pinctrl-1 = <&hsi2c_12_bus>;
	pinctrl-2 = <&hsi2c_12_bus_in>;

	is-4h5yc@36 {
		compatible = "samsung,exynos-is-cis-4h5yc";
		reg = <0x36>;
		id = <1>; /* matching sensor id */
		setfile = "setB";
		use_initial_ae;
	};
};

&hsi2c_13 {
	#address-cells = <1>;
	#size-cells = <0>;
	gpios = <&gpm2 0 0 &gpm3 0 0>;
	status = "okay";
	clock-frequency = <400000>;

	pinctrl-names = "default","on_i2c","off_i2c";
	pinctrl-0 = <&hsi2c_13_bus_in>;
	pinctrl-1 = <&hsi2c_13_bus>;
	pinctrl-2 = <&hsi2c_13_bus_in>;

	is-eeprom@51 {
		compatible = "samsung,exynos-is-sensor-eeprom-gm1";
		reg = <0x51>;
		id = <1>; /* matching sensor id */
	};
};

&hsi2c_15 {
	#address-cells = <1>;
	#size-cells = <0>;
	gpios = <&gpm6 0 0 &gpm7 0 0>;
	status = "okay";
	clock-frequency = <400000>;
	samsung,reset-before-trans;
	samsung,fast-plus-mode;

	pinctrl-names = "default","on_i2c","off_i2c";
	pinctrl-0 = <&hsi2c_15_bus_in>;
	pinctrl-1 = <&hsi2c_15_bus>;
	pinctrl-2 = <&hsi2c_15_bus_in>;

	is-5e9@10 {
		compatible = "samsung,exynos-is-cis-5e9";
		reg = <0x10>;
		id = <2>; /* matching sensor id */
		setfile = "setB";
		use_initial_ae;
	};

	is-eeprom@51 {
		compatible = "samsung,exynos-is-sensor-eeprom-5e9";
		reg = <0x54>;
		id = <2>; /* matching sensor id */
	};
};

&is_sensor0 {
	#address-cells = <1>;
	#size-cells = <1>;
	scenario = <SENSOR_SCENARIO_NORMAL>;	/* Normal, Vision, OIS etc */
	id = <0>;
	csi_ch = <1>;
	dma_ch = <1 1 1 1>;
	vc_ch = <0 1 2 3>;
	flite_ch = <FLITE_ID_NOTHING>;
	is_bns = <0>;
	status = "okay";
	reg = <0x0 0x15040000 0x1000>, /* MIPI-CSI1 */
		<0x0 0x150D0000 0x10000>; /* PHY: M0S4S4S4S4S2 */
	interrupts = <0 INTREQ__CSIS1 IRQ_TYPE_LEVEL_HIGH>, /*MIPI-CSI1 */
		<0 INTREQ__CSIS_DMA1 IRQ_TYPE_LEVEL_HIGH>,
		<0 INTREQ__CSIS_DMA1 IRQ_TYPE_LEVEL_HIGH>,
		<0 INTREQ__CSIS_DMA1 IRQ_TYPE_LEVEL_HIGH>,
		<0 INTREQ__CSIS_DMA1 IRQ_TYPE_LEVEL_HIGH>;
	interrupt-names = "csi",
		"mode0_VC0", "mode0_VC1","mode0_VC2","mode0_VC3";
	phys = <&mipi_phy_csis1_m0s4s4s4s4s2 0>;
	/* without PAF HW */
	sensor0_ch_mode0: sensor0-ch-mode0 {
		reg = <0x150C2000 0x100>, /* DMA1 VC0 */
			<0x150C2400 0x100>, /* DMA1 Common */
			<0x150C2100 0x100>, /* DMA1 VC1 */
			<0x150C2400 0x100>, /* DMA1 Common */
			<0x150C2200 0x100>, /* DMA1 VC2 */
			<0x150C2400 0x100>, /* DMA1 Common */
			<0x150C2300 0x100>, /* DMA1 VC3 */
			<0x150C2400 0x100>; /* DMA1 Common */
		mux_reg = <0x15020418 0x4>; /* DMA1 input mux */
	};
};

&is_sensor1 {
	#address-cells = <1>;
	#size-cells = <1>;
	scenario = <SENSOR_SCENARIO_NORMAL>;    /* Normal, Vision, OIS etc */
	id = <1>;
	csi_ch = <0>;
	dma_ch = <0 0 0 0>;
	vc_ch = <0 1 2 3>;
	flite_ch = <FLITE_ID_NOTHING>;
	is_bns = <0>;
	status = "okay";
	reg = <0x0 0x15030000 0x1000>, /* MIPI-CSI0 */
		<0x0 0x150D0000 0x10000>; /* PHY: M0S4S4S4S4S2 */
	interrupts = <0 INTREQ__CSIS0 IRQ_TYPE_LEVEL_HIGH>, /* MIPI-CSI0 */
		<0 INTREQ__CSIS_DMA0 IRQ_TYPE_LEVEL_HIGH>,
		<0 INTREQ__CSIS_DMA0 IRQ_TYPE_LEVEL_HIGH>,
		<0 INTREQ__CSIS_DMA0 IRQ_TYPE_LEVEL_HIGH>,
		<0 INTREQ__CSIS_DMA0 IRQ_TYPE_LEVEL_HIGH>;
	interrupt-names = "csi",
		"mode0_VC0", "mode0_VC1","mode0_VC2","mode0_VC3";
	phys = <&mipi_phy_csis0_m0s4s4s4s4s2 0>;
	/* without PAF HW */
	sensor1_ch_mode0: sensor1-ch-mode0 {
		reg = <0x150C1000 0x100>, /* DMA0 VC0 */
			<0x150C1400 0x100>, /* DMA0 Common */
			<0x150C1100 0x100>, /* DMA0 VC1 */
			<0x150C1400 0x100>, /* DMA0 Common */
			<0x150C1200 0x100>, /* DMA0 VC2 */
			<0x150C1400 0x100>, /* DMA0 Common */
			<0x150C1300 0x100>, /* DMA0 VC3 */
			<0x150C1400 0x100>; /* DMA0 Common */
		mux_reg = <0x15020414 0x4>; /* DMA0 input mux */
	};
};

&is_sensor2 {
	#address-cells = <1>;
	#size-cells = <1>;
	scenario = <SENSOR_SCENARIO_NORMAL>;    /* Normal, Vision, OIS etc */
	id = <2>;
	csi_ch = <2>;
	dma_ch = <2 2 2 2>;
	vc_ch = <0 1 2 3>;
	flite_ch = <FLITE_ID_NOTHING>;
	is_bns = <0>;
	status = "disabled";
};

&is_sensor3 {
	#address-cells = <1>;
	#size-cells = <1>;
	scenario = <SENSOR_SCENARIO_NORMAL>;    /* Normal, Vision, OIS etc */
	id = <2>;
	csi_ch = <3>;
	dma_ch = <3 3 3 3>;
	vc_ch = <0 1 2 3>;
	flite_ch = <FLITE_ID_NOTHING>;
	is_bns = <0>;
	status = "okay";

	interrupts = <0 INTREQ__CSIS3 IRQ_TYPE_LEVEL_HIGH>, /* MIPI-CSI2 */
			<0 INTREQ__CSIS_DMA3 IRQ_TYPE_LEVEL_HIGH>,
			<0 INTREQ__CSIS_DMA3 IRQ_TYPE_LEVEL_HIGH>,
			<0 INTREQ__CSIS_DMA3 IRQ_TYPE_LEVEL_HIGH>,
			<0 INTREQ__CSIS_DMA3 IRQ_TYPE_LEVEL_HIGH>;
	interrupt-names = "csi",
		"mode0_VC0", "mode0_VC1","mode0_VC2","mode0_VC3";
	/* without PAF HW */
	sensor3_ch_mode0: sensor3-ch-mode0 {
		reg = <0x150C4000 0x100>, /* DMA3 VC0 */
			<0x150C4400 0x100>, /* DMA3 Common */
			<0x150C4100 0x100>, /* DMA3 VC1 */
			<0x150C4400 0x100>, /* DMA3 Common */
			<0x150C4200 0x100>, /* DMA3 VC2 */
			<0x150C4400 0x100>, /* DMA3 Common */
			<0x150C4300 0x100>, /* DMA3 VC3 */
			<0x150C4400 0x100>; /* DMA3 Common */
		mux_reg = <0x15020420 0x4>; /* DMA3 input mux */
	};
};

&is_sensor4 {
	#address-cells = <1>;
	#size-cells = <1>;
	scenario = <SENSOR_SCENARIO_NORMAL>;    /* Normal, Vision, OIS etc */
	id = <4>;
	csi_ch = <2>;
	dma_ch = <2 2 2 2>;
	vc_ch = <0 1 2 3>;
	flite_ch = <FLITE_ID_NOTHING>;
	is_bns = <0>;
	status = "disabled";
};
